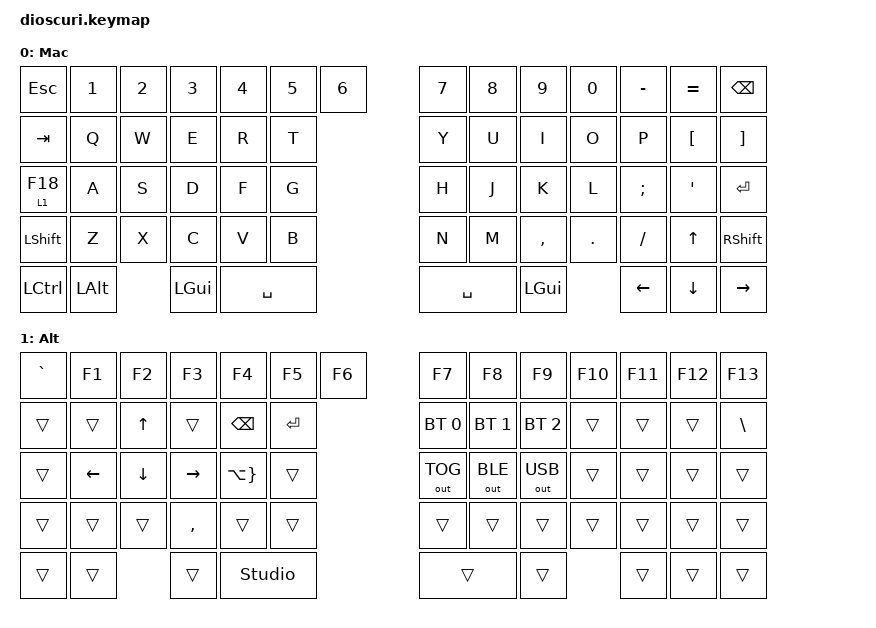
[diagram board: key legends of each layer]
#include <behaviors.dtsi>
#include <dt-bindings/zmk/keys.h>
#include <dt-bindings/zmk/bt.h>
#include <dt-bindings/zmk/outputs.h>

// Urob
#include "zmk-helpers/helper.h"

#define MAC 0
#define ALT 1

// Behavior Overrides
&lt {
	tapping-term-ms = <200>;
	flavor = "hold-preferred";
};

/ {
	macros {
		spotlight: spotlight {
			compatible = "zmk,behavior-macro";
			#binding-cells = <0>;
			bindings = <&macro_press &kp LGUI>, <&macro_tap &kp SPACE>, <&macro_release &kp LGUI>; 
		};
	
		// Emoji
		mac_emoji: mac_emoji {
			compatible = "zmk,behavior-macro";
			#binding-cells = <0>;
			bindings = <&macro_press &kp LGUI>, <&macro_press &kp LCTRL>, <&macro_tap &kp SPACE>, <&macro_release &kp LCTRL>, <&macro_release &kp LGUI>; 
		};
	};
	
	behaviors {
		sm: space_mod {
			compatible = "zmk,behavior-hold-tap";
			#binding-cells = <2>;
			flavor = "balanced";
			tapping-term-ms = <200>;
			quick-tap-ms = <200>;
			bindings = <&kp>, <&kp>;
		};
		
		td_multi_mac: tap_dance_multi_mac {
			compatible = "zmk,behavior-tap-dance";
			#binding-cells = <0>;
			tapping-term-ms = <200>;
			bindings = <&sm ESC LALT>, <&spotlight>, <&kp LCTRL>, <&mac_emoji>;
		};
	};
	
	keymap {
		compatible = "zmk,keymap";
		mac_default_layer {
				display-name = "Mac";
			// ,---,---,---,---,---,---,---,																			---,---,---,---,---,---,----,
			// |ESC| 1 | 2 | 3 | 4 | 5 | 6 | 																			| 7 | 8 | 9 | 0 | - | = | <-|
			// |---'-,-'-,-'-,-'-,-'-,-'-,-'																			,---,---,---,---,---,---,---,
			// | ->| | Q | W | E | R | T |																				| Y | U | I | O | P | [ | ] |
			// |-----',--',--',--',--',--',																				,---,---,---,---,---,---,---'---|
			// | Caps | A | S | D | F | G |																				| H | J | K | L | ; | ' |  Entr |
			// |----,-'-,-'-,-'-,-'-,-'-,-'-,																			,---,---,---,---,---,---'--,----|
			// |  SHFT  | Z | X | C | V | B |																			| N | M | , | . | / | ^ |  SHFT |
			// |----'-,-'---,---',--'-,-'---'-------,																	,---'---'---'-,-'-,-'--,---|----|
			// | ctrl | opt |	| cmd |  	SPACE	|																	|  SPACE    | cmd |  | < | v | > |
			// '------'-----'	'-----'-------------'																	'-------------'---'  '---'---'---'
		
			bindings = <
				&kp ESC			&kp N1		&kp N2		&kp N3		&kp N4		&kp N5		&kp N6						&kp N7		&kp N8		&kp N9			&kp N0		&kp MINUS		&kp EQUAL		&kp BSPC
				&kp TAB			&kp Q		&kp W		&kp E		&kp R		&kp T									&kp Y		&kp U		&kp I			&kp O		&kp P			&kp LBKT		&kp RBKT
				&lt 1 F18		&kp A		&kp S		&kp D		&kp F		&kp G									&kp H		&kp J		&kp K			&kp L		&kp SEMI		&kp SQT			&kp RET
				&kp LSHFT		&kp Z		&kp X		&kp C		&kp V		&kp B									&kp N		&kp M		&kp COMMA		&kp DOT		&kp SLASH		&kp UP			&kp RSHFT
				&kp LCTRL		&kp LALT				&kp LGUI	&kp SPACE														&kp SPACE	&kp LGUI					&kp LEFT		&kp DOWN		&kp RIGHT
			>;
		};
	
	alt_layer {
			display-name = "Alt";
			bindings = <
				&kp GRAVE		&kp F1		&kp F2		&kp F3		&kp F4		&kp F5		&kp F6						&kp F7				&kp F8				&kp F9				&kp F10			&kp F11			&kp F12			&kp F13
				&trans			&trans		&kp UP		&trans		&kp BSPC	&kp ENTER								&bt BT_SEL 0		&bt BT_SEL 1		&bt BT_SEL 2		&trans			&trans			&trans			&kp BSLH
				&trans			&kp LEFT	&kp DOWN	&kp RIGHT	&kp LA(RBRC) &trans									&out OUT_TOG		&out OUT_BLE		&out OUT_USB		&trans			&trans			&trans			&trans
				&trans			&trans		&trans		&kp COMMA	&trans		&trans									&trans				&trans				&trans				&trans			&trans			&trans			&trans
				&trans			&trans					&trans		&studio_unlock															&trans				&trans								&trans			&trans			&trans
			>;
		};
	};
};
